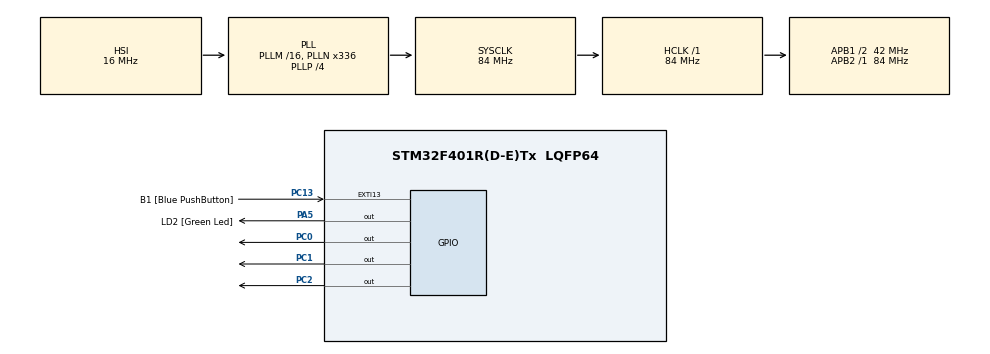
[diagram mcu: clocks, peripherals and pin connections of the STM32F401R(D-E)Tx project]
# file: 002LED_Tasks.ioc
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Mcu.Family=STM32F4
Mcu.Name=STM32F401R(D-E)Tx
Mcu.Package=LQFP64
NVIC.PriorityGroup=NVIC_PRIORITYGROUP_4
NVIC.TIM2_IRQn=true\:0\:0\:false\:false\:true\:false\:true\:true
NVIC.TimeBase=TIM2_IRQn
NVIC.TimeBaseIP=TIM2
PA13.GPIO_Label=TMS
PA13.Signal=SYS_JTMS-SWDIO
PA14.GPIO_Label=TCK
PA14.Signal=SYS_JTCK-SWCLK
PA2.GPIO_Label=USART_TX
PA2.GPIO_Mode=GPIO_MODE_AF_PP
PA2.GPIO_PuPd=GPIO_NOPULL
PA2.GPIO_Speed=GPIO_SPEED_FREQ_LOW
PA2.Signal=USART2_TX
PA3.GPIO_Label=USART_RX
PA3.GPIO_Mode=GPIO_MODE_AF_PP
PA3.GPIO_PuPd=GPIO_NOPULL
PA3.GPIO_Speed=GPIO_SPEED_FREQ_LOW
PA3.Signal=USART2_RX
PA5.GPIO_Label=LD2 [Green Led]
PA5.GPIO_Mode=GPIO_MODE_OUTPUT_PP
PA5.GPIO_PuPd=GPIO_NOPULL
PA5.GPIO_Speed=GPIO_SPEED_FREQ_LOW
PA5.Signal=GPIO_Output
PB3.GPIO_Label=SWO
PB3.Signal=SYS_JTDO-SWO
PC0.Signal=GPIO_Output
PC1.Signal=GPIO_Output
PC13-ANTI_TAMP.GPIO_Label=B1 [Blue PushButton]
PC13-ANTI_TAMP.GPIO_ModeDefaultEXTI=GPIO_MODE_IT_FALLING
PC13-ANTI_TAMP.GPIO_PuPd=GPIO_NOPULL
PC13-ANTI_TAMP.Signal=GPXTI13
PC14-OSC32_IN.Signal=RCC_OSC32_IN
PC15-OSC32_OUT.Signal=RCC_OSC32_OUT
PC2.Signal=GPIO_Output
PH0\ -\ OSC_IN.Signal=RCC_OSC_IN
PH1\ -\ OSC_OUT.Signal=RCC_OSC_OUT
ProjectManager.HeapSize=0x200
ProjectManager.StackSize=0x400
ProjectManager.TargetToolchain=STM32CubeIDE
RCC.AHBFreq_Value=84000000
RCC.APB1CLKDivider=RCC_HCLK_DIV2
RCC.APB1Freq_Value=42000000
RCC.APB1TimFreq_Value=84000000
RCC.APB2Freq_Value=84000000
RCC.APB2TimFreq_Value=84000000
RCC.CortexFreq_Value=84000000
RCC.HCLKFreq_Value=84000000
RCC.HSE_VALUE=8000000
RCC.HSI_VALUE=16000000
RCC.LSE_VALUE=32768
RCC.PLLN=336
RCC.PLLP=RCC_PLLP_DIV4
RCC.PLLQ=7
RCC.SYSCLKFreq_VALUE=84000000
RCC.SYSCLKSource=RCC_SYSCLKSOURCE_PLLCLK
RCC.VCOOutputFreq_Value=336000000
VP_SYS_VS_tim2.Mode=TIM2
board=NUCLEO-F401RE

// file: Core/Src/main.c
/* USER CODE BEGIN Header */
/**
  ******************************************************************************
  * @file           : main.c
  * @brief          : Main program body
  ******************************************************************************
  * @attention
  *
  * Copyright (c) 2026 STMicroelectronics.
  * All rights reserved.
  *
  * This software is licensed under terms that can be found in the LICENSE file
  * in the root directory of this software component.
  * If no LICENSE file comes with this software, it is provided AS-IS.
  *
  ******************************************************************************
  */
/* USER CODE END Header */
#include "main.h"

/* USER CODE BEGIN Includes */

#include <stdio.h>
#include "FreeRTOS.h"
#include "task.h"

/* USER CODE END Includes */

/* USER CODE BEGIN PD */

#define DWT_CTRL	(*(volatile uint32_t*)0xE0001000)

/* USER CODE END PD */

/* USER CODE BEGIN PV */

	TaskHandle_t task1_handle;
	TaskHandle_t task2_handle;
	TaskHandle_t task3_handle;

	BaseType_t status;

/* USER CODE END PV */

void SystemClock_Config(void);
static void MX_GPIO_Init(void);
/* USER CODE BEGIN PFP */

static void led_green_handler(void* parameters);
static void led_orange_handler(void* parameters);
static void led_red_handler(void* parameters);

extern void  SEGGER_UART_init(uint32_t);

/* USER CODE END PFP */

int main(void)
{

  /* MCU Configuration--------------------------------------------------------*/

  /* Reset of all peripherals, Initializes the Flash interface and the Systick. */
  HAL_Init();

  /* Configure the system clock */
  SystemClock_Config();

  /* Initialize all configured peripherals */
  MX_GPIO_Init();
  /* USER CODE BEGIN 2 */

  	//SEGGER_UART_init(500000);

	//Enable CYCCNT Counter
	DWT_CTRL |= (1<<0);

	SEGGER_UART_init(500000);

	SEGGER_SYSVIEW_Conf();

	status = xTaskCreate(led_green_handler, "LED Green Task", 200, NULL, 2, &task1_handle);
	configASSERT(status == pdPASS);

	status = xTaskCreate(led_orange_handler, "LED Orange Task", 200, NULL, 2, &task2_handle);
	configASSERT(status == pdPASS);

	status = xTaskCreate(led_red_handler, "LED Red Task", 200, NULL, 2, &task3_handle);
	configASSERT(status == pdPASS);

	vTaskStartScheduler();

  /* USER CODE END 2 */

  /* Infinite loop */
  while (1)
  {

  }
}

void SystemClock_Config(void)
{
  RCC_OscInitTypeDef RCC_OscInitStruct = {0};
  RCC_ClkInitTypeDef RCC_ClkInitStruct = {0};

  /** Configure the main internal regulator output voltage
  */
  __HAL_RCC_PWR_CLK_ENABLE();
  __HAL_PWR_VOLTAGESCALING_CONFIG(PWR_REGULATOR_VOLTAGE_SCALE2);

  /** Initializes the RCC Oscillators according to the specified parameters
  * in the RCC_OscInitTypeDef structure.
  */
  RCC_OscInitStruct.OscillatorType = RCC_OSCILLATORTYPE_HSI;
  RCC_OscInitStruct.HSIState = RCC_HSI_ON;
  RCC_OscInitStruct.HSICalibrationValue = RCC_HSICALIBRATION_DEFAULT;
  RCC_OscInitStruct.PLL.PLLState = RCC_PLL_ON;
  RCC_OscInitStruct.PLL.PLLSource = RCC_PLLSOURCE_HSI;
  RCC_OscInitStruct.PLL.PLLM = 16;
  RCC_OscInitStruct.PLL.PLLN = 336;
  RCC_OscInitStruct.PLL.PLLP = RCC_PLLP_DIV4;
  RCC_OscInitStruct.PLL.PLLQ = 7;
  if (HAL_RCC_OscConfig(&RCC_OscInitStruct) != HAL_OK)
  {
    Error_Handler();
  }

  /** Initializes the CPU, AHB and APB buses clocks
  */
  RCC_ClkInitStruct.ClockType = RCC_CLOCKTYPE_HCLK|RCC_CLOCKTYPE_SYSCLK
                              |RCC_CLOCKTYPE_PCLK1|RCC_CLOCKTYPE_PCLK2;
  RCC_ClkInitStruct.SYSCLKSource = RCC_SYSCLKSOURCE_PLLCLK;
  RCC_ClkInitStruct.AHBCLKDivider = RCC_SYSCLK_DIV1;
  RCC_ClkInitStruct.APB1CLKDivider = RCC_HCLK_DIV2;
  RCC_ClkInitStruct.APB2CLKDivider = RCC_HCLK_DIV1;

  if (HAL_RCC_ClockConfig(&RCC_ClkInitStruct, FLASH_LATENCY_2) != HAL_OK)
  {
    Error_Handler();
  }
}

static void MX_GPIO_Init(void)
{
  GPIO_InitTypeDef GPIO_InitStruct = {0};

  /* GPIO Ports Clock Enable */
  __HAL_RCC_GPIOC_CLK_ENABLE();
  __HAL_RCC_GPIOH_CLK_ENABLE();
  __HAL_RCC_GPIOA_CLK_ENABLE();
  __HAL_RCC_GPIOB_CLK_ENABLE();

  /*Configure GPIO pin Output Level */
  HAL_GPIO_WritePin(GPIOC, GPIO_PIN_0|GPIO_PIN_1|GPIO_PIN_2, GPIO_PIN_RESET);

  /*Configure GPIO pin Output Level */
  HAL_GPIO_WritePin(LD2_GPIO_Port, LD2_Pin, GPIO_PIN_RESET);

  /*Configure GPIO pin : B1_Pin */
  GPIO_InitStruct.Pin = B1_Pin;
  GPIO_InitStruct.Mode = GPIO_MODE_IT_FALLING;
  GPIO_InitStruct.Pull = GPIO_NOPULL;
  HAL_GPIO_Init(B1_GPIO_Port, &GPIO_InitStruct);

  /*Configure GPIO pins : PC0 PC1 PC2 */
  GPIO_InitStruct.Pin = GPIO_PIN_0|GPIO_PIN_1|GPIO_PIN_2;
  GPIO_InitStruct.Mode = GPIO_MODE_OUTPUT_PP;
  GPIO_InitStruct.Pull = GPIO_NOPULL;
  GPIO_InitStruct.Speed = GPIO_SPEED_FREQ_LOW;
  HAL_GPIO_Init(GPIOC, &GPIO_InitStruct);

  /*Configure GPIO pins : USART_TX_Pin USART_RX_Pin */
  GPIO_InitStruct.Pin = USART_TX_Pin|USART_RX_Pin;
  GPIO_InitStruct.Mode = GPIO_MODE_AF_PP;
  GPIO_InitStruct.Pull = GPIO_NOPULL;
  GPIO_InitStruct.Speed = GPIO_SPEED_FREQ_LOW;
  GPIO_InitStruct.Alternate = GPIO_AF7_USART2;
  HAL_GPIO_Init(GPIOA, &GPIO_InitStruct);

  /*Configure GPIO pin : LD2_Pin */
  GPIO_InitStruct.Pin = LD2_Pin;
  GPIO_InitStruct.Mode = GPIO_MODE_OUTPUT_PP;
  GPIO_InitStruct.Pull = GPIO_NOPULL;
  GPIO_InitStruct.Speed = GPIO_SPEED_FREQ_LOW;
  HAL_GPIO_Init(LD2_GPIO_Port, &GPIO_InitStruct);

}

/* USER CODE BEGIN 4 */

static void led_green_handler(void* parameters)
{
	TickType_t last_wakeup_time;
	last_wakeup_time = xTaskGetTickCount();

	while(1)
	{
		SEGGER_SYSVIEW_PrintfTarget("Toggling Green LED");
		HAL_GPIO_TogglePin(GPIOC, LED_GREEN_PIN);
		//HAL_Delay(800);
		//vTaskDelay(pdMS_TO_TICKS(800));
		vTaskDelayUntil(&last_wakeup_time, pdMS_TO_TICKS(800));
	}
}

static void led_orange_handler(void* parameters)
{
	TickType_t last_wakeup_time;
	last_wakeup_time = xTaskGetTickCount();
	while(1)
	{
		SEGGER_SYSVIEW_PrintfTarget("Toggling Orange LED");
		HAL_GPIO_TogglePin(GPIOC, LED_ORANGE_PIN);
		//HAL_Delay(400);
		//vTaskDelay(pdMS_TO_TICKS(400));
		vTaskDelayUntil(&last_wakeup_time, pdMS_TO_TICKS(400));
	}
}

static void led_red_handler(void* parameters)
{
	TickType_t last_wakeup_time;
	last_wakeup_time = xTaskGetTickCount();
	while(1)
	{
		SEGGER_SYSVIEW_PrintfTarget("Toggling RED LED");
		HAL_GPIO_TogglePin(GPIOC, LED_RED_PIN);
		//HAL_Delay(200);
		//vTaskDelay(pdMS_TO_TICKS(200));
		vTaskDelayUntil(&last_wakeup_time, pdMS_TO_TICKS(200));
	}
}

/* USER CODE END 4 */

void HAL_TIM_PeriodElapsedCallback(TIM_HandleTypeDef *htim)
{
  if (htim->Instance == TIM2) {
    HAL_IncTick();
  }
}

void Error_Handler(void)
{
  __disable_irq();
  while (1)
  {
  }
}
